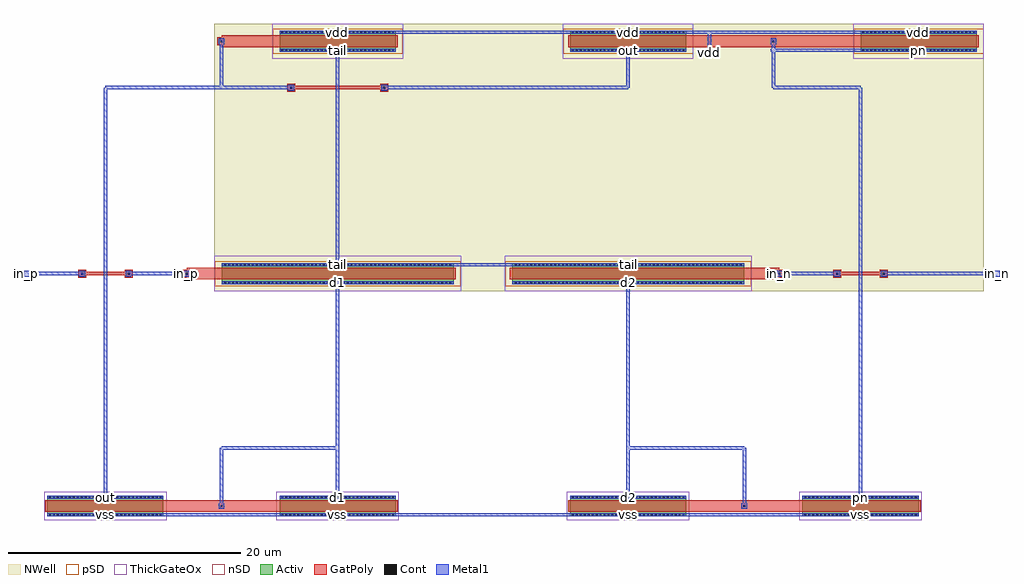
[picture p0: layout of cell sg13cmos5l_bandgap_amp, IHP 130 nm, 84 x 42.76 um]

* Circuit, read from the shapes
.subckt sg13cmos5l_bandgap_amp d1 d2 in_n in_p out pn tail vdd vss
XM1 out d1 vss VSUBS sg13_hv_nmos w=10u l=1u
XM2 d1 d1 vss VSUBS sg13_hv_nmos w=10u l=1u
XM3 d2 d2 vss VSUBS sg13_hv_nmos w=10u l=1u
XM4 pn d2 vss VSUBS sg13_hv_nmos w=10u l=1u
XM5 tail in_p d1 vdd sg13_hv_pmos w=20u l=1u
XM6 vdd out tail vdd sg13_hv_pmos w=10u l=1u
XM7 tail in_n d2 vdd sg13_hv_pmos w=20u l=1u
XM8 vdd pn out vdd sg13_hv_pmos w=10u l=1u
XM9 vdd pn pn vdd sg13_hv_pmos w=10u l=1u
.ends

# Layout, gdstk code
import gdstk
lib = gdstk.Library(unit=1e-6, precision=1e-09)
def R(c, l, rs):  # rectangles x0, y0, x1, y1
    for r in rs: c.add(gdstk.rectangle(r[:2], r[2:], *l))
def A(c, l, x, y, w, h, nx, ny, dx, dy):  # array of equal rectangles
    R(c, l, [(x+i*dx, y+j*dy, x+i*dx+w, y+j*dy+h) for i in range(nx) for j in range(ny)])
Activ = (1, 0)
GatPoly = (5, 0)
Cont = (6, 0)
nSD = (7, 0)
Metal1 = (8, 0)
pSD = (14, 0)
NWell = (31, 0)
ThickGateOx = (44, 0)

sg13cmos5l_bandgap_amp = lib.new_cell('sg13cmos5l_bandgap_amp')
A(sg13cmos5l_bandgap_amp, Activ, 15, 39.1, 10, 1.8, 3, 1, 25, 0)
R(sg13cmos5l_bandgap_amp, Activ, [(-5,-0.9,5,0.9), (15,-0.9,25,0.9), (40,-0.9,50,0.9), (60,-0.9,70,0.9), (10,19.1,30,20.9), (35,19.1,55,20.9), (51.83,38.83,52.17,39.17)])
A(sg13cmos5l_bandgap_amp, GatPoly, 14.82, 39.5, 10.36, 1, 3, 1, 25, 0)
R(sg13cmos5l_bandgap_amp, GatPoly, [(-5.18,-0.5,5.18,0.5), (5.18,-0.5,14.82,0.5), (14.82,-0.5,25.18,0.5), (39.82,-0.5,50.18,0.5), (50.18,-0.5,59.82,0.5), (59.82,-0.5,70.18,0.5), (9.65,-0.35,10.35,0.35), (54.65,-0.35,55.35,0.35), (7,19.5,9.82,20.5), (9.82,19.5,30.18,20.5), (34.82,19.5,55.18,20.5), (55.18,19.5,58,20.5), (-2.35,19.65,-1.65,20.35), (1.65,19.65,2.35,20.35), (6.65,19.65,7.35,20.35), (57.65,19.65,58.35,20.35), (62.65,19.65,63.35,20.35), (66.65,19.65,67.35,20.35), (-2,19.85,2,20.15), (63,19.85,67,20.15), (15.65,35.65,16.35,36.35), (23.65,35.65,24.35,36.35), (16,35.85,24,36.15), (10,39.5,14.82,40.5), (50.18,39.5,64.82,40.5), (9.65,39.65,10.35,40.35), (57.15,39.65,57.85,40.35)])
A(sg13cmos5l_bandgap_amp, Cont, -4.84, -0.83, 0.16, 0.16, 29, 2, 0.34, 1.5)
A(sg13cmos5l_bandgap_amp, Cont, 15.16, -0.83, 0.16, 0.16, 29, 2, 0.34, 1.5)
A(sg13cmos5l_bandgap_amp, Cont, 40.16, -0.83, 0.16, 0.16, 29, 2, 0.34, 1.5)
A(sg13cmos5l_bandgap_amp, Cont, 60.16, -0.83, 0.16, 0.16, 29, 2, 0.34, 1.5)
A(sg13cmos5l_bandgap_amp, Cont, 10.23, 19.17, 0.16, 0.16, 58, 2, 0.34, 1.5)
A(sg13cmos5l_bandgap_amp, Cont, 35.23, 19.17, 0.16, 0.16, 58, 2, 0.34, 1.5)
A(sg13cmos5l_bandgap_amp, Cont, 15.16, 39.17, 0.16, 0.16, 29, 2, 0.34, 1.5)
A(sg13cmos5l_bandgap_amp, Cont, 40.16, 39.17, 0.16, 0.16, 29, 2, 0.34, 1.5)
A(sg13cmos5l_bandgap_amp, Cont, 65.16, 39.17, 0.16, 0.16, 29, 2, 0.34, 1.5)
R(sg13cmos5l_bandgap_amp, Cont, [(9.92,-0.08,10.08,0.08), (54.92,-0.08,55.08,0.08), (-2.08,19.92,-1.92,20.08), (1.92,19.92,2.08,20.08), (6.92,19.92,7.08,20.08), (57.92,19.92,58.08,20.08), (62.92,19.92,63.08,20.08), (66.92,19.92,67.08,20.08), (15.92,35.92,16.08,36.08), (23.92,35.92,24.08,36.08), (51.92,38.92,52.08,39.08), (9.92,39.92,10.08,40.08), (57.42,39.92,57.58,40.08)])
R(sg13cmos5l_bandgap_amp, nSD, [(51.73,38.73,52.27,39.27)])
A(sg13cmos5l_bandgap_amp, Metal1, 15, 39.1, 10, 0.26, 3, 2, 25, 1.54)
R(sg13cmos5l_bandgap_amp, Metal1, [(-5,-0.9,5,-0.64), (-5,-0.9,70,-0.64), (15,-0.9,25,-0.64), (40,-0.9,50,-0.64), (60,-0.9,70,-0.64), (9.75,-0.25,10.25,0.25), (54.75,-0.25,55.25,0.25), (9.85,0,10.15,5), (54.85,0,55.15,5), (-5,0.64,5,0.9), (15,0.64,25,0.9), (40,0.64,50,0.9), (60,0.64,70,0.9), (-0.15,0.9,0.15,36), (19.85,0.9,20.15,19.1), (44.85,0.9,45.15,19.1), (64.85,0.9,65.15,36), (10,4.85,20,5.15), (45,4.85,55,5.15), (10,19.1,30,19.36), (35,19.1,55,19.36), (-7,19.75,-6.5,20.25), (-2.25,19.75,-1.75,20.25), (1.75,19.75,2.25,20.25), (6.75,19.75,7.25,20.25), (57.75,19.75,58.25,20.25), (62.75,19.75,63.25,20.25), (66.75,19.75,67.25,20.25), (76.5,19.75,77,20.25), (-6.5,19.85,-2,20.15), (2,19.85,7,20.15), (58,19.85,63,20.15), (67,19.85,76.5,20.15), (10,20.64,30,20.9), (10,20.64,55,20.9), (35,20.64,55,20.9), (19.85,20.9,20.15,39.1), (15.75,35.75,16.25,36.25), (23.75,35.75,24.25,36.25), (0,35.85,16,36.15), (24,35.85,45,36.15), (57.5,35.85,65,36.15), (9.85,36,10.15,40), (44.85,36,45.15,39.1), (57.35,36,57.65,40), (51.83,38.83,52.17,39.17), (57.25,39.1,70,39.36), (51.85,39.17,52.15,40.9), (9.75,39.75,10.25,40.25), (57.25,39.75,57.75,40.25), (15,40.64,75,40.9)])
A(sg13cmos5l_bandgap_amp, pSD, 14.42, 38.92, 11.16, 2.16, 3, 1, 25, 0)
R(sg13cmos5l_bandgap_amp, pSD, [(9.42,18.92,30.58,21.08), (34.42,18.92,55.58,21.08)])
R(sg13cmos5l_bandgap_amp, NWell, [(9.38,18.48,75.62,41.52)])
A(sg13cmos5l_bandgap_amp, ThickGateOx, 14.38, 38.48, 11.24, 3.04, 3, 1, 25, 0)
R(sg13cmos5l_bandgap_amp, ThickGateOx, [(-5.27,-1.24,5.27,1.24), (14.73,-1.24,25.27,1.24), (39.73,-1.24,50.27,1.24), (59.73,-1.24,70.27,1.24), (9.38,18.48,30.62,21.52), (34.38,18.48,55.62,21.52)])
sg13cmos5l_bandgap_amp.add(gdstk.Label('out', (0,0.77), layer=8, texttype=2))
sg13cmos5l_bandgap_amp.add(gdstk.Label('vss', (0,-0.77), layer=8, texttype=2))
sg13cmos5l_bandgap_amp.add(gdstk.Label('d1', (20,0.77), layer=8, texttype=2))
sg13cmos5l_bandgap_amp.add(gdstk.Label('vss', (20,-0.77), layer=8, texttype=2))
sg13cmos5l_bandgap_amp.add(gdstk.Label('d2', (45,0.77), layer=8, texttype=2))
sg13cmos5l_bandgap_amp.add(gdstk.Label('vss', (45,-0.77), layer=8, texttype=2))
sg13cmos5l_bandgap_amp.add(gdstk.Label('pn', (65,0.77), layer=8, texttype=2))
sg13cmos5l_bandgap_amp.add(gdstk.Label('vss', (65,-0.77), layer=8, texttype=2))
sg13cmos5l_bandgap_amp.add(gdstk.Label('tail', (20,20.77), layer=8, texttype=2))
sg13cmos5l_bandgap_amp.add(gdstk.Label('d1', (20,19.23), layer=8, texttype=2))
sg13cmos5l_bandgap_amp.add(gdstk.Label('tail', (45,20.77), layer=8, texttype=2))
sg13cmos5l_bandgap_amp.add(gdstk.Label('d2', (45,19.23), layer=8, texttype=2))
sg13cmos5l_bandgap_amp.add(gdstk.Label('vdd', (20,40.77), layer=8, texttype=2))
sg13cmos5l_bandgap_amp.add(gdstk.Label('tail', (20,39.23), layer=8, texttype=2))
sg13cmos5l_bandgap_amp.add(gdstk.Label('vdd', (45,40.77), layer=8, texttype=2))
sg13cmos5l_bandgap_amp.add(gdstk.Label('out', (45,39.23), layer=8, texttype=2))
sg13cmos5l_bandgap_amp.add(gdstk.Label('vdd', (70,40.77), layer=8, texttype=2))
sg13cmos5l_bandgap_amp.add(gdstk.Label('pn', (70,39.23), layer=8, texttype=2))
sg13cmos5l_bandgap_amp.add(gdstk.Label('vdd', (52,39), layer=8, texttype=2))
sg13cmos5l_bandgap_amp.add(gdstk.Label('in_p', (7,20), layer=8, texttype=2))
sg13cmos5l_bandgap_amp.add(gdstk.Label('in_n', (58,20), layer=8, texttype=2))
sg13cmos5l_bandgap_amp.add(gdstk.Label('in_p', (-6.75,20), layer=8, texttype=2))
sg13cmos5l_bandgap_amp.add(gdstk.Label('in_n', (76.75,20), layer=8, texttype=2))
sg13cmos5l_bandgap_amp.add(gdstk.Label('MN3(sg13_hv_nmos w=10.0u l=1.0u g=d1)', (0,1.7), layer=63, texttype=0))
sg13cmos5l_bandgap_amp.add(gdstk.Label('MN1(sg13_hv_nmos w=10.0u l=1.0u g=d1)', (20,1.7), layer=63, texttype=0))
sg13cmos5l_bandgap_amp.add(gdstk.Label('MN2(sg13_hv_nmos w=10.0u l=1.0u g=d2)', (45,1.7), layer=63, texttype=0))
sg13cmos5l_bandgap_amp.add(gdstk.Label('MN4(sg13_hv_nmos w=10.0u l=1.0u g=d2)', (65,1.7), layer=63, texttype=0))
sg13cmos5l_bandgap_amp.add(gdstk.Label('MP1(sg13_hv_pmos w=20.0u l=1.0u g=in_p)', (20,21.7), layer=63, texttype=0))
sg13cmos5l_bandgap_amp.add(gdstk.Label('MP2(sg13_hv_pmos w=20.0u l=1.0u g=in_n)', (45,21.7), layer=63, texttype=0))
sg13cmos5l_bandgap_amp.add(gdstk.Label('MTAIL(sg13_hv_pmos w=10.0u l=1.0u g=out)', (20,41.7), layer=63, texttype=0))
sg13cmos5l_bandgap_amp.add(gdstk.Label('MP4(sg13_hv_pmos w=10.0u l=1.0u g=pn)', (45,41.7), layer=63, texttype=0))
sg13cmos5l_bandgap_amp.add(gdstk.Label('MP3(sg13_hv_pmos w=10.0u l=1.0u g=pn)', (70,41.7), layer=63, texttype=0))

lib.write_gds('sg13cmos5l_bandgap_amp.gds')
